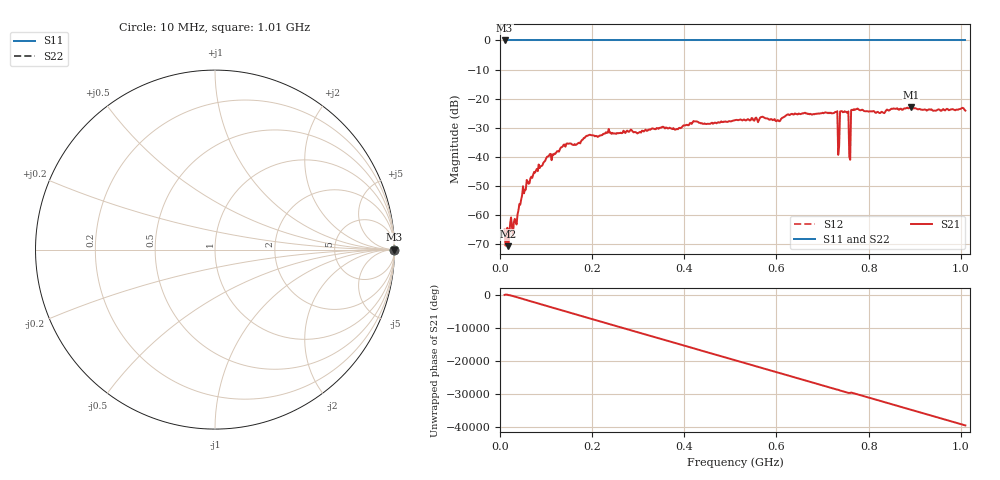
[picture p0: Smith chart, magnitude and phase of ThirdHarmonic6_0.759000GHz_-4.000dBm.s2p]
! 8/16/2025 1:21:52 AM
! C:\ANRITSUVNA\TEMP\TEMP.S2P
! CHANNEL.1
! TR.MEASUREMENT
! RAW.DATA
! RF.CORRECTION.OFF
! AVERAGING.OFF
! IF.BANDWIDTH: 5KHZ
! SWEEPTYPE:  FREQ.SWEEP(Linear)
! Reference Plane Port Info
! PORT:  PORT1  PORT2
! DISTANCE:  0  m  0  m
! TIME:  0  s  0  s
! PHASE.OFFSET:  0  deg.  0  deg.
! LOSS:  0  dB  0  dB
! REF.LOSS:  0  dB  0  dB
! REF.FREQ:  0  Hz  0  Hz
! Power Info
! POWER:  -20  dBm  -20  dBm
! EFF.POWER:  -20  dBm  -20  dBm
! SOURCE.ATTEN:  0  dB  0  dB
! TEST.ATTEN:  0  dB  0  dB
# GHZ S RI R 50.0
! FREQ.GHZ  S11RE  S11IM  S21RE  S21IM  S12RE  S12IM  S22RE  S22IM
!; PortSelection: Port_12
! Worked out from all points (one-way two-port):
!   501 points, 10 MHz to 1.01 GHz, reference 50 ohm
!   highest |S21| = -22.98 dB at 892 MHz (marker M1); lowest = -70.7 dB at 18 MHz (marker M2)
!   lowest |S11| = 0.0 dB at 10 MHz (marker M3)
!   |S11| at or under -10 dB: nowhere
!   |S22| runs from 0.0 to 0.0 dB; largest |S21 - S12| = 1.1
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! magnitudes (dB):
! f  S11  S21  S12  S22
! 10 MHz  0.0  -65.0  0.0  0.0
! 18 MHz  0.0  -70.7  0.0  0.0
! 32 MHz  0.0  -61.3  0.0  0.0
! 54 MHz  0.0  -51.3  0.0  0.0
! 76 MHz  0.0  -45.4  0.0  0.0
! 136 MHz  0.0  -36.4  0.0  0.0
! 178 MHz  0.0  -34.2  0.0  0.0
! 344 MHz  0.0  -30.4  0.0  0.0
! 510 MHz  0.0  -27.4  0.0  0.0
! 678 MHz  0.0  -25.5  0.0  0.0
! 728 MHz  0.0  -24.5  0.0  0.0
! 732 MHz  0.0  -24.3  0.0  0.0
! 734 MHz  0.0  -39.3  0.0  0.0
! 738 MHz  0.0  -24.4  0.0  0.0
! 742 MHz  0.0  -24.3  0.0  0.0
! 752 MHz  0.0  -24.6  0.0  0.0
! 756 MHz  0.0  -24.4  0.0  0.0
! 762 MHz  0.0  -24.0  0.0  0.0
! 766 MHz  0.0  -23.9  0.0  0.0
! 844 MHz  0.0  -24.1  0.0  0.0
! 892 MHz  0.0  -23.0  0.0  0.0
! 1.01 GHz  0.0  -24.1  0.0  0.0
